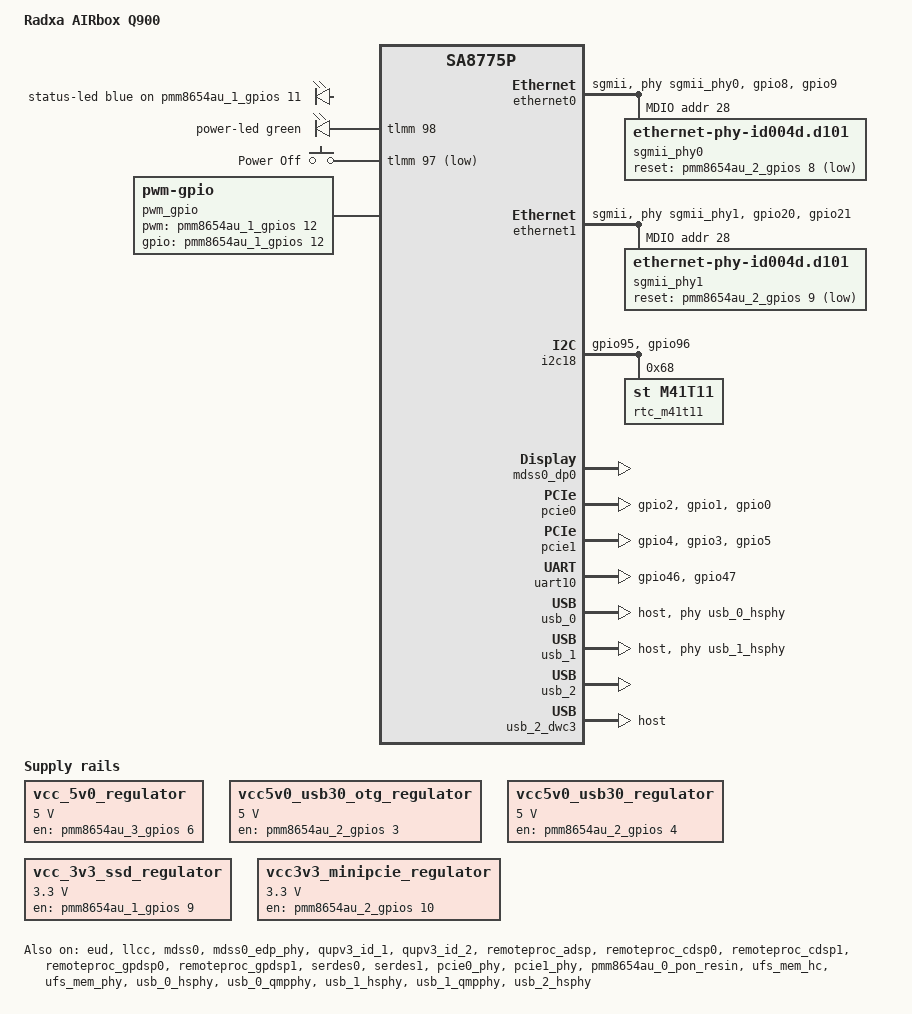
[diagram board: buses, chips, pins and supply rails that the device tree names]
// SPDX-License-Identifier: BSD-3-Clause
/*
 * Copyright (c) 2024, 2025, Qualcomm Innovation Center, Inc. All rights reserved.
 * Copyright (c) 2025 Radxa Computer (Shenzhen) Co., Ltd.
 */
/dts-v1/;

#include <dt-bindings/gpio/gpio.h>
#include <dt-bindings/leds/common.h>
#include <dt-bindings/regulator/qcom,rpmh-regulator.h>
#include  <dt-bindings/pwm/pwm.h>

#include "sa8775p.dtsi"
#include "sa8775p-addons.dtsi"
#include "sa8775p-pmics.dtsi"
#include "qcs9075-thermal.dtsi"
#include "qcs9xxx-reserved-memory.dtsi"

/ {
	model = "Radxa AIRbox Q900";
	compatible = "radxa,airbox-q900", "qcom,qcs9075", "qcom,sa8775p";

	qcom,msm-id = <676 0x20000>;
	qcom,board-id = <0x10020 0>, <0x10019 0>;

	aliases {
		ethernet0 = &ethernet0;
		ethernet1 = &ethernet1;
		serial0 = &uart10;
		i2c18 = &i2c18;
		ufshc1 = &ufs_mem_hc;
	};

	chosen {
		stdout-path = "serial0:115200n8";
	};

	vcc_5v0_regulator: vcc-5v0-regulator {
		compatible = "regulator-fixed";
		regulator-name = "vcc_5v0";
		gpio = <&pmm8654au_3_gpios 6 GPIO_ACTIVE_HIGH>;
		pinctrl-names = "default";
		pinctrl-0 = <&vcc_5v0_en_state>;
		regulator-min-microvolt = <5000000>;
		regulator-max-microvolt = <5000000>;
		regulator-boot-on;
		enable-active-high;
		regulator-always-on;
	};

	vcc5v0_usb30_otg_regulator: vcc5v0-usb30-otg-regulator {
		compatible = "regulator-fixed";
		regulator-name = "vcc5v0_usb30_otg";
		gpio = <&pmm8654au_2_gpios 3 GPIO_ACTIVE_HIGH>;
		pinctrl-names = "default";
		pinctrl-0 = <&vcc3v3_usb30_otg_en_state>;
		regulator-min-microvolt = <5000000>;
		regulator-max-microvolt = <5000000>;
		regulator-boot-on;
		enable-active-high;
		regulator-always-on;
	};

	vcc5v0_usb30_regulator: vcc5v0-usb30-regulator {
		compatible = "regulator-fixed";
		regulator-name = "vcc5v0_usb30";
		gpio = <&pmm8654au_2_gpios 4 GPIO_ACTIVE_HIGH>;
		pinctrl-names = "default";
		pinctrl-0 = <&vcc3v3_usb30_en_state>;
		regulator-min-microvolt = <5000000>;
		regulator-max-microvolt = <5000000>;
		regulator-boot-on;
		enable-active-high;
		regulator-always-on;
	};

	vcc_3v3_ssd_regulator: vcc-3p3-ssd-regulator {
		compatible = "regulator-fixed";
		regulator-name = "vcc_3v3_ssd";
		gpio = <&pmm8654au_1_gpios 9 GPIO_ACTIVE_HIGH>;
		pinctrl-names = "default";
		pinctrl-0 = <&vcc_3v3_ssd_en_state>;
		regulator-min-microvolt = <3300000>;
		regulator-max-microvolt = <3300000>;
		regulator-boot-on;
		enable-active-high;
		regulator-always-on;
	};

	vcc3v3_minipcie_regulator: vcc3v3-minipcie-regulator {
		compatible = "regulator-fixed";
		regulator-name = "vcc3v3_minipcie";
		gpio = <&pmm8654au_2_gpios 10 GPIO_ACTIVE_HIGH>;
		pinctrl-names = "default";
		pinctrl-0 = <&vcc3v3_minipcie_en_state>;
		regulator-min-microvolt = <3300000>;
		regulator-max-microvolt = <3300000>;
		regulator-boot-on;
		enable-active-high;
		regulator-always-on;
	};


	gpio_leds: gpio-leds {
		compatible = "gpio-leds";
		pinctrl-names = "default";
		pinctrl-0 = <&status_led_state>, <&power_led_state>;

		status-led {
			lable = "status:led";
			gpios = <&pmm8654au_1_gpios 11 GPIO_ACTIVE_HIGH>;
			linux,default-trigger = "heartbeat";
			function = LED_FUNCTION_STATUS;
			color = <LED_COLOR_ID_BLUE>;
		};

		power-led {
			lable = "power:led";
			gpios = <&tlmm 98 GPIO_ACTIVE_HIGH>;
			linux,default-trigger = "none";
			function = LED_FUNCTION_POWER;
			color = <LED_COLOR_ID_GREEN>;
		};
	};

	gpio_keys: gpio-keys {
		compatible = "gpio-keys";

		pinctrl-0 = <&gpio_keys_default>;
		pinctrl-names = "default";

		power-key {
			label = "Power Off";
			gpios = <&tlmm 97 GPIO_ACTIVE_LOW>;
			linux,code = <KEY_POWER>;
			wakeup-source;
			debounce-interval = <30>;
		};
	};

	pwm_gpio: pwm-gpio {
		compatible = "pwm-gpio";
		#pwm-cells = <3>;
		pwm-gpio = <&pmm8654au_1_gpios 12 GPIO_ACTIVE_HIGH>;
		gpios = <&pmm8654au_1_gpios 12 GPIO_ACTIVE_HIGH>;
	};
};

&apps_rsc {
	regulators-0 {
		compatible = "qcom,pmm8654au-rpmh-regulators";
		qcom,pmic-id = "a";

		vreg_s4a: smps4 {
			regulator-name = "vreg_s4a";
			regulator-min-microvolt = <1800000>;
			regulator-max-microvolt = <1816000>;
			regulator-initial-mode = <RPMH_REGULATOR_MODE_HPM>;
		};

		vreg_s5a: smps5 {
			regulator-name = "vreg_s5a";
			regulator-min-microvolt = <1850000>;
			regulator-max-microvolt = <1996000>;
			regulator-initial-mode = <RPMH_REGULATOR_MODE_HPM>;
		};

		vreg_s9a: smps9 {
			regulator-name = "vreg_s9a";
			regulator-min-microvolt = <535000>;
			regulator-max-microvolt = <1120000>;
			regulator-initial-mode = <RPMH_REGULATOR_MODE_HPM>;
		};

		vreg_l4a: ldo4 {
			regulator-name = "vreg_l4a";
			regulator-min-microvolt = <788000>;
			regulator-max-microvolt = <1050000>;
			regulator-initial-mode = <RPMH_REGULATOR_MODE_HPM>;
			regulator-allow-set-load;
			regulator-allowed-modes = <RPMH_REGULATOR_MODE_LPM
						   RPMH_REGULATOR_MODE_HPM>;
		};

		vreg_l5a: ldo5 {
			regulator-name = "vreg_l5a";
			regulator-min-microvolt = <870000>;
			regulator-max-microvolt = <950000>;
			regulator-initial-mode = <RPMH_REGULATOR_MODE_HPM>;
			regulator-allow-set-load;
			regulator-allowed-modes = <RPMH_REGULATOR_MODE_LPM
						   RPMH_REGULATOR_MODE_HPM>;
		};

		vreg_l6a: ldo6 {
			regulator-name = "vreg_l6a";
			regulator-min-microvolt = <870000>;
			regulator-max-microvolt = <970000>;
			regulator-initial-mode = <RPMH_REGULATOR_MODE_HPM>;
			regulator-allow-set-load;
			regulator-allowed-modes = <RPMH_REGULATOR_MODE_LPM
						   RPMH_REGULATOR_MODE_HPM>;
		};

		vreg_l7a: ldo7 {
			regulator-name = "vreg_l7a";
			regulator-min-microvolt = <720000>;
			regulator-max-microvolt = <950000>;
			regulator-initial-mode = <RPMH_REGULATOR_MODE_HPM>;
			regulator-allow-set-load;
			regulator-allowed-modes = <RPMH_REGULATOR_MODE_LPM
						   RPMH_REGULATOR_MODE_HPM>;
		};

		vreg_l8a: ldo8 {
			regulator-name = "vreg_l8a";
			regulator-min-microvolt = <2504000>;
			regulator-max-microvolt = <3300000>;
			regulator-initial-mode = <RPMH_REGULATOR_MODE_HPM>;
			regulator-allow-set-load;
			regulator-allowed-modes = <RPMH_REGULATOR_MODE_LPM
						   RPMH_REGULATOR_MODE_HPM>;
		};

		vreg_l9a: ldo9 {
			regulator-name = "vreg_l9a";
			regulator-min-microvolt = <2970000>;
			regulator-max-microvolt = <3544000>;
			regulator-initial-mode = <RPMH_REGULATOR_MODE_HPM>;
			regulator-allow-set-load;
			regulator-allowed-modes = <RPMH_REGULATOR_MODE_LPM
						   RPMH_REGULATOR_MODE_HPM>;
		};
	};

	regulators-1 {
		compatible = "qcom,pmm8654au-rpmh-regulators";
		qcom,pmic-id = "c";

		vreg_l1c: ldo1 {
			regulator-name = "vreg_l1c";
			regulator-min-microvolt = <1140000>;
			regulator-max-microvolt = <1260000>;
			regulator-initial-mode = <RPMH_REGULATOR_MODE_HPM>;
			regulator-allow-set-load;
			regulator-allowed-modes = <RPMH_REGULATOR_MODE_LPM
						   RPMH_REGULATOR_MODE_HPM>;
		};

		vreg_l2c: ldo2 {
			regulator-name = "vreg_l2c";
			regulator-min-microvolt = <900000>;
			regulator-max-microvolt = <1100000>;
			regulator-initial-mode = <RPMH_REGULATOR_MODE_HPM>;
			regulator-allow-set-load;
			regulator-allowed-modes = <RPMH_REGULATOR_MODE_LPM
						   RPMH_REGULATOR_MODE_HPM>;
		};

		vreg_l3c: ldo3 {
			regulator-name = "vreg_l3c";
			regulator-min-microvolt = <1100000>;
			regulator-max-microvolt = <1300000>;
			regulator-initial-mode = <RPMH_REGULATOR_MODE_HPM>;
			regulator-allow-set-load;
			regulator-allowed-modes = <RPMH_REGULATOR_MODE_LPM
						   RPMH_REGULATOR_MODE_HPM>;
		};

		vreg_l4c: ldo4 {
			regulator-name = "vreg_l4c";
			regulator-min-microvolt = <1200000>;
			regulator-max-microvolt = <1200000>;
			regulator-initial-mode = <RPMH_REGULATOR_MODE_HPM>;
			/*
			 * FIXME: This should have regulator-allow-set-load but
			 * we're getting an over-current fault from the PMIC
			 * when switching to LPM.
			 */
		};

		vreg_l5c: ldo5 {
			regulator-name = "vreg_l5c";
			regulator-min-microvolt = <1100000>;
			regulator-max-microvolt = <1300000>;
			regulator-initial-mode = <RPMH_REGULATOR_MODE_HPM>;
			regulator-allow-set-load;
			regulator-allowed-modes = <RPMH_REGULATOR_MODE_LPM
						   RPMH_REGULATOR_MODE_HPM>;
		};

		vreg_l6c: ldo6 {
			regulator-name = "vreg_l6c";
			regulator-min-microvolt = <1620000>;
			regulator-max-microvolt = <1980000>;
			regulator-initial-mode = <RPMH_REGULATOR_MODE_HPM>;
			regulator-allow-set-load;
			regulator-allowed-modes = <RPMH_REGULATOR_MODE_LPM
						   RPMH_REGULATOR_MODE_HPM>;
		};

		vreg_l7c: ldo7 {
			regulator-name = "vreg_l7c";
			regulator-min-microvolt = <1620000>;
			regulator-max-microvolt = <2000000>;
			regulator-initial-mode = <RPMH_REGULATOR_MODE_HPM>;
			regulator-allow-set-load;
			regulator-allowed-modes = <RPMH_REGULATOR_MODE_LPM
						   RPMH_REGULATOR_MODE_HPM>;
		};

		vreg_l8c: ldo8 {
			regulator-name = "vreg_l8c";
			regulator-min-microvolt = <2400000>;
			regulator-max-microvolt = <3300000>;
			regulator-initial-mode = <RPMH_REGULATOR_MODE_HPM>;
			regulator-allow-set-load;
			regulator-allowed-modes = <RPMH_REGULATOR_MODE_LPM
						   RPMH_REGULATOR_MODE_HPM>;
		};

		vreg_l9c: ldo9 {
			regulator-name = "vreg_l9c";
			regulator-min-microvolt = <1650000>;
			regulator-max-microvolt = <2700000>;
			regulator-initial-mode = <RPMH_REGULATOR_MODE_HPM>;
			regulator-allow-set-load;
			regulator-allowed-modes = <RPMH_REGULATOR_MODE_LPM
						   RPMH_REGULATOR_MODE_HPM>;
		};
	};

	regulators-2 {
		compatible = "qcom,pmm8654au-rpmh-regulators";
		qcom,pmic-id = "e";

		vreg_s4e: smps4 {
			regulator-name = "vreg_s4e";
			regulator-min-microvolt = <970000>;
			regulator-max-microvolt = <1520000>;
			regulator-initial-mode = <RPMH_REGULATOR_MODE_HPM>;
		};

		vreg_s7e: smps7 {
			regulator-name = "vreg_s7e";
			regulator-min-microvolt = <1010000>;
			regulator-max-microvolt = <1170000>;
			regulator-initial-mode = <RPMH_REGULATOR_MODE_HPM>;
		};

		vreg_s9e: smps9 {
			regulator-name = "vreg_s9e";
			regulator-min-microvolt = <300000>;
			regulator-max-microvolt = <570000>;
			regulator-initial-mode = <RPMH_REGULATOR_MODE_HPM>;
		};

		vreg_l6e: ldo6 {
			regulator-name = "vreg_l6e";
			regulator-min-microvolt = <1280000>;
			regulator-max-microvolt = <1450000>;
			regulator-initial-mode = <RPMH_REGULATOR_MODE_HPM>;
			regulator-allow-set-load;
			regulator-allowed-modes = <RPMH_REGULATOR_MODE_LPM
						   RPMH_REGULATOR_MODE_HPM>;
		};

		vreg_l8e: ldo8 {
			regulator-name = "vreg_l8e";
			regulator-min-microvolt = <1800000>;
			regulator-max-microvolt = <1950000>;
			regulator-initial-mode = <RPMH_REGULATOR_MODE_HPM>;
			regulator-allow-set-load;
			regulator-allowed-modes = <RPMH_REGULATOR_MODE_LPM
						   RPMH_REGULATOR_MODE_HPM>;
		};
	};
};

&ethernet0 {
	phy-handle = <&sgmii_phy0>;
	phy-mode = "sgmii";

	pinctrl-0 = <&ethernet0_default>;
	pinctrl-names = "default";

	snps,mtl-rx-config = <&mtl_rx_setup>;
	snps,mtl-tx-config = <&mtl_tx_setup>;
	snps,ps-speed = <1000>;

	status = "okay";

	mdio {
		compatible = "snps,dwmac-mdio";
		#address-cells = <1>;
		#size-cells = <0>;

		sgmii_phy0: phy@1c {
			compatible = "ethernet-phy-id004d.d101";
			reg = <0x1c>;
			device_type = "ethernet-phy";
			reset-gpios = <&pmm8654au_2_gpios 8 GPIO_ACTIVE_LOW>;
			reset-assert-us = <11000>;
			reset-deassert-us = <70000>;
		};
	};

	mtl_rx_setup: rx-queues-config {
		snps,rx-queues-to-use = <4>;
		snps,rx-sched-sp;

		queue0 {
			snps,dcb-algorithm;
			snps,map-to-dma-channel = <0x0>;
			snps,route-up;
			snps,priority = <0x1>;
		};

		queue1 {
			snps,dcb-algorithm;
			snps,map-to-dma-channel = <0x1>;
			snps,route-ptp;
		};

		queue2 {
			snps,avb-algorithm;
			snps,map-to-dma-channel = <0x2>;
			snps,route-avcp;
		};

		queue3 {
			snps,avb-algorithm;
			snps,map-to-dma-channel = <0x3>;
			snps,priority = <0xc>;
		};
	};

	mtl_tx_setup: tx-queues-config {
		snps,tx-queues-to-use = <4>;
		snps,tx-sched-sp;

		queue0 {
			snps,dcb-algorithm;
		};

		queue1 {
			snps,dcb-algorithm;
		};

		queue2 {
			snps,avb-algorithm;
			snps,send_slope = <0x1000>;
			snps,idle_slope = <0x1000>;
			snps,high_credit = <0x3e800>;
			snps,low_credit = <0xffc18000>;
		};

		queue3 {
			snps,avb-algorithm;
			snps,send_slope = <0x1000>;
			snps,idle_slope = <0x1000>;
			snps,high_credit = <0x3e800>;
			snps,low_credit = <0xffc18000>;
		};
	};
};

&ethernet1 {
	phy-handle = <&sgmii_phy1>;
	phy-mode = "sgmii";

	pinctrl-0 = <&ethernet1_default>;
	pinctrl-names = "default";

	snps,mtl-rx-config = <&mtl_rx_setup1>;
	snps,mtl-tx-config = <&mtl_tx_setup1>;
	snps,ps-speed = <1000>;

	status = "okay";

	mdio {
		compatible = "snps,dwmac-mdio";
		#address-cells = <1>;
		#size-cells = <0>;

		sgmii_phy1: phy@1c {
			compatible = "ethernet-phy-id004d.d101";
			reg = <0x1c>;
			device_type = "ethernet-phy";
			reset-gpios = <&pmm8654au_2_gpios 9 GPIO_ACTIVE_LOW>;
			reset-assert-us = <11000>;
			reset-deassert-us = <70000>;
		};
	};

	mtl_rx_setup1: rx-queues-config {
		snps,rx-queues-to-use = <4>;
		snps,rx-sched-sp;

		queue0 {
			snps,dcb-algorithm;
			snps,map-to-dma-channel = <0x0>;
			snps,route-up;
			snps,priority = <0x1>;
		};

		queue1 {
			snps,dcb-algorithm;
			snps,map-to-dma-channel = <0x1>;
			snps,route-ptp;
		};

		queue2 {
			snps,avb-algorithm;
			snps,map-to-dma-channel = <0x2>;
			snps,route-avcp;
		};

		queue3 {
			snps,avb-algorithm;
			snps,map-to-dma-channel = <0x3>;
			snps,priority = <0xc>;
		};
	};

	mtl_tx_setup1: tx-queues-config {
		snps,tx-queues-to-use = <4>;
		snps,tx-sched-sp;

		queue0 {
			snps,dcb-algorithm;
		};

		queue1 {
			snps,dcb-algorithm;
		};

		queue2 {
			snps,avb-algorithm;
			snps,send_slope = <0x1000>;
			snps,idle_slope = <0x1000>;
			snps,high_credit = <0x3e800>;
			snps,low_credit = <0xffc18000>;
		};

		queue3 {
			snps,avb-algorithm;
			snps,send_slope = <0x1000>;
			snps,idle_slope = <0x1000>;
			snps,high_credit = <0x3e800>;
			snps,low_credit = <0xffc18000>;
		};
	};
};

&eud {
	status = "okay";
};

&i2c0 {
	qcom,load-firmware;
	qcom,xfer-mode = <1>;
};

&i2c1 {
	qcom,load-firmware;
	qcom,xfer-mode = <1>;
};

&i2c2 {
	qcom,load-firmware;
	qcom,xfer-mode = <1>;
};

&i2c3 {
	qcom,load-firmware;
	qcom,xfer-mode = <1>;
};

&i2c4 {
	qcom,load-firmware;
	qcom,xfer-mode = <1>;
};

&i2c5 {
	qcom,load-firmware;
	qcom,xfer-mode = <1>;
};

&i2c7 {
	qcom,load-firmware;
	qcom,xfer-mode = <1>;
};

&i2c8 {
	qcom,load-firmware;
	qcom,xfer-mode = <1>;
};

&i2c9 {
	qcom,load-firmware;
	qcom,xfer-mode = <1>;
};

&i2c10 {
	qcom,load-firmware;
	qcom,xfer-mode = <1>;
};

&i2c11 {
	qcom,load-firmware;
	qcom,xfer-mode = <1>;
};

&i2c12 {
	qcom,load-firmware;
	qcom,xfer-mode = <1>;
};

&i2c13 {
	qcom,load-firmware;
	qcom,xfer-mode = <1>;
};

&i2c14 {
	qcom,load-firmware;
	qcom,xfer-mode = <1>;
};

&i2c15 {
	qcom,load-firmware;
	qcom,xfer-mode = <1>;
};

&i2c16 {
	qcom,load-firmware;
	qcom,xfer-mode = <1>;
};

&i2c17 {
	qcom,load-firmware;
	qcom,xfer-mode = <1>;
};

&i2c18 {
	qcom,load-firmware;
	qcom,xfer-mode = <1>;
	pinctrl-0 = <&qup_i2c18_default>;
	pinctrl-names = "default";
	status = "okay";

	/* RTC RS4C411ZAE */
	rtc_m41t11: rtc-m41t11@68 {
		compatible = "st,m41t11";
		reg = <0x68>;
	};
};

&i2c19 {
	qcom,load-firmware;
	qcom,xfer-mode = <1>;
};

&llcc {
	status = "okay";
};

&mdss0 {
	status = "okay";
};

&mdss0_dp0 {
	status = "okay";
};

&mdss0_dp0_out {
	data-lanes = <0 1 2 3>;
	link-frequencies = /bits/ 64 <1620000000 2700000000 5400000000 8100000000>;
};

&mdss0_edp_phy {
	status = "okay";
};

&qupv3_id_1 {
	status = "okay";
};

&qupv3_id_2 {
	status = "okay";
};

&remoteproc_adsp {
	firmware-name = "qcom/sa8775p/adsp.mbn";
	status = "okay";
};

&remoteproc_cdsp0 {
	firmware-name = "qcom/sa8775p/cdsp0.mbn";
	status = "okay";
};

&remoteproc_cdsp1 {
	firmware-name = "qcom/sa8775p/cdsp1.mbn";
	status = "okay";
};

&remoteproc_gpdsp0 {
	firmware-name = "qcom/sa8775p/gpdsp0.mbn";
	status = "okay";
};

&remoteproc_gpdsp1 {
	firmware-name = "qcom/sa8775p/gpdsp1.mbn";
	status = "okay";
};

&serdes0 {
	phy-supply = <&vreg_l5a>;
	status = "okay";
};

&serdes1 {
	phy-supply = <&vreg_l5a>;
	status = "okay";
};

&sleep_clk {
	clock-frequency = <32768>;
};

&spi0 {
	qcom,load-firmware;
	qcom,xfer-mode = <1>;
};

&spi1 {
	qcom,load-firmware;
	qcom,xfer-mode = <1>;
};

&spi2 {
	qcom,load-firmware;
	qcom,xfer-mode = <1>;
};

&spi3 {
	qcom,load-firmware;
	qcom,xfer-mode = <1>;
};

&spi4 {
	qcom,load-firmware;
	qcom,xfer-mode = <1>;
};

&spi5 {
	qcom,load-firmware;
	qcom,xfer-mode = <1>;
};

&spi7 {
	qcom,load-firmware;
	qcom,xfer-mode = <1>;
};

&spi8 {
	qcom,load-firmware;
	qcom,xfer-mode = <1>;
};

&spi9 {
	qcom,load-firmware;
	qcom,xfer-mode = <1>;
};

&spi10 {
	qcom,load-firmware;
	qcom,xfer-mode = <1>;
};

&spi11 {
	qcom,load-firmware;
	qcom,xfer-mode = <1>;
};

&spi12 {
	qcom,load-firmware;
	qcom,xfer-mode = <1>;
};

&spi14 {
	qcom,load-firmware;
	qcom,xfer-mode = <1>;
};

&spi15 {
	qcom,load-firmware;
	qcom,xfer-mode = <1>;
};

&spi16 {
	qcom,load-firmware;
	qcom,xfer-mode = <1>;
};

&spi17 {
	qcom,load-firmware;
	qcom,xfer-mode = <1>;
};

&spi18 {
	qcom,load-firmware;
	qcom,xfer-mode = <1>;
};

&spi19 {
	qcom,load-firmware;
	qcom,xfer-mode = <1>;
};

&pcie0 {
	perst-gpios = <&tlmm 2 GPIO_ACTIVE_LOW>;
	wake-gpios = <&tlmm 0 GPIO_ACTIVE_HIGH>;

	pinctrl-names = "default";
	pinctrl-0 = <&pcie0_default_state>;

	status = "okay";
};

&pcie1 {
	perst-gpios = <&tlmm 4 GPIO_ACTIVE_LOW>;
	wake-gpios = <&tlmm 5 GPIO_ACTIVE_HIGH>;

	pinctrl-names = "default";
	pinctrl-0 = <&pcie1_default_state>;

	status = "okay";
};

&pcie0_phy {
	vdda-phy-supply = <&vreg_l5a>;
	vdda-pll-supply = <&vreg_l1c>;

	status = "okay";
};

&pcie1_phy {
	vdda-phy-supply = <&vreg_l5a>;
	vdda-pll-supply = <&vreg_l1c>;

	status = "okay";
};

&pmm8654au_0_pon_resin {
	linux,code = <KEY_VOLUMEDOWN>;
	status = "okay";
};

&pmm8654au_0_rtc {
	status = "disabled";
};

&uart0 {
	qcom,load-firmware;
	qcom,xfer-mode = <1>;
};

&uart1 {
	qcom,load-firmware;
	qcom,xfer-mode = <1>;
};

&uart2 {
	qcom,load-firmware;
	qcom,xfer-mode = <1>;
};

&uart3 {
	qcom,load-firmware;
	qcom,xfer-mode = <1>;
};

&uart4 {
	qcom,load-firmware;
	qcom,xfer-mode = <1>;
};

&uart5 {
	qcom,load-firmware;
	qcom,xfer-mode = <1>;
};

&uart7 {
	qcom,load-firmware;
	qcom,xfer-mode = <1>;
};

&uart8 {
	qcom,load-firmware;
	qcom,xfer-mode = <1>;
};

&uart9 {
	qcom,load-firmware;
	qcom,xfer-mode = <1>;
};

&uart10 {
	compatible = "qcom,geni-debug-uart";
	pinctrl-0 = <&qup_uart10_default>;
	pinctrl-names = "default";
	status = "okay";
};

&uart11 {
	qcom,load-firmware;
	qcom,xfer-mode = <1>;
};

&uart12 {
	qcom,load-firmware;
	qcom,xfer-mode = <1>;
};

&uart14 {
	qcom,load-firmware;
	qcom,xfer-mode = <1>;
};

&uart15 {
	qcom,load-firmware;
	qcom,xfer-mode = <1>;
};

&uart16 {
	qcom,load-firmware;
	qcom,xfer-mode = <1>;
};

&uart17 {
	qcom,load-firmware;
	qcom,xfer-mode = <1>;
};

&uart18 {
	qcom,load-firmware;
	qcom,xfer-mode = <1>;
};

&uart19 {
	qcom,load-firmware;
	qcom,xfer-mode = <1>;
};

&ufs_mem_hc {
	reset-gpios = <&tlmm 149 GPIO_ACTIVE_LOW>;
	vcc-supply = <&vreg_l8a>;
	vcc-max-microamp = <1100000>;
	vccq-supply = <&vreg_l4c>;
	vccq-max-microamp = <1200000>;

	status = "okay";
};

&ufs_mem_phy {
	vdda-phy-supply = <&vreg_l4a>;
	vdda-pll-supply = <&vreg_l1c>;

	status = "okay";
};

/delete-node/ &usb_0_dwc3;

&usb_0 {
	reg = <0x0 0x0a600000 0x0 0x200000>;

	interrupts-extended = <&intc GIC_SPI 292 IRQ_TYPE_LEVEL_HIGH>,
			      <&intc GIC_SPI 287 IRQ_TYPE_LEVEL_HIGH>,
			      <&pdc 14 IRQ_TYPE_EDGE_BOTH>,
			      <&pdc 15 IRQ_TYPE_EDGE_BOTH>,
			      <&pdc 12 IRQ_TYPE_LEVEL_HIGH>;
	interrupt-names = "dwc_usb3",
			  "pwr_event",
			  "dp_hs_phy_irq",
			  "dm_hs_phy_irq",
			  "ss_phy_irq";

	iommus = <&apps_smmu 0x080 0x0>;
	phys = <&usb_0_hsphy>, <&usb_0_qmpphy>;
	phy-names = "usb2-phy", "usb3-phy";

	dr_mode = "host";
	snps,dis_u2_susphy_quirk;
	snps,dis_enblslpm_quirk;
	qcom,enable-rt;
	wakeup-source;
	vbus_dwc3-supply = <&vcc5v0_usb30_otg_regulator>;
	status = "okay";
};

&usb_0_hsphy {
	vdda-pll-supply = <&vreg_l7a>;
	vdda18-supply = <&vreg_l6c>;
	vdda33-supply = <&vreg_l9a>;

	status = "okay";
};

&usb_0_qmpphy {
	vdda-phy-supply = <&vreg_l1c>;
	vdda-pll-supply = <&vreg_l7a>;

	status = "okay";
};

/delete-node/ &usb_1_dwc3;

&usb_1 {
	reg = <0x0 0x0a800000 0x0 0x200000>;
	interrupts-extended = <&intc GIC_SPI 349 IRQ_TYPE_LEVEL_HIGH>,
				<&intc GIC_SPI 352 IRQ_TYPE_LEVEL_HIGH>,
				<&pdc 8 IRQ_TYPE_EDGE_BOTH>,
				<&pdc 7 IRQ_TYPE_EDGE_BOTH>,
				<&pdc 13 IRQ_TYPE_LEVEL_HIGH>;
	interrupt-names = "dwc_usb3",
			"pwr_event",
			"dp_hs_phy_irq",
			"dm_hs_phy_irq",
			"ss_phy_irq";

	iommus = <&apps_smmu 0x0a0 0x0>;
	phys = <&usb_1_hsphy>, <&usb_1_qmpphy>;
	phy-names = "usb2-phy", "usb3-phy";
	snps,dis_u2_susphy_quirk;
	snps,dis_enblslpm_quirk;
	qcom,enable-rt;
	wakeup-source;
	dr_mode = "host";
	vbus_dwc3-supply = <&vcc5v0_usb30_regulator>;
	status = "okay";
};

&usb_1_hsphy {
	vdda-pll-supply = <&vreg_l7a>;
	vdda18-supply = <&vreg_l6c>;
	vdda33-supply = <&vreg_l9a>;

	status = "okay";
};

&usb_1_qmpphy {
	vdda-phy-supply = <&vreg_l1c>;
	vdda-pll-supply = <&vreg_l7a>;

	status = "okay";
};

&usb_2 {
	status = "okay";
};

&usb_2_dwc3 {
	dr_mode = "host";
};

&usb_2_hsphy {
	vdda-pll-supply = <&vreg_l7a>;
	vdda18-supply = <&vreg_l6c>;
	vdda33-supply = <&vreg_l9a>;

	status = "okay";
};

&xo_board_clk {
	clock-frequency = <38400000>;
};

&pmm8654au_1_gpios {

	vcc_3v3_ssd_en_state: vcc-3v3-ssd-en-state {
		pins = "gpio9";
		function = "normal";
		output-high;
		bias-pull-up;
	};

	status_led_state: status-led-state {
		pins = "gpio11";
		function = "normal";
		output-high;
		bias-pull-up;
	};
};

&pmm8654au_2_gpios {

	vcc3v3_usb30_otg_en_state: vcc3v3-usb30-otg-en-state {
		pins = "gpio3";
		function = "normal";
		output-high;
		bias-pull-up;
	};

	vcc3v3_usb30_en_state: vcc3v3-usb30-en-state {
		pins = "gpio4";
		function = "normal";
		output-high;
		bias-pull-up;
	};

	vcc3v3_minipcie_en_state: vcc3v3-minipcie-en-state {
		pins = "gpio10";
		function = "normal";
		output-high;
		bias-pull-up;
	};
};

&pmm8654au_3_gpios {

	vcc_5v0_en_state: vcc-5v0-en-state {
		pins = "gpio6";
		function = "normal";
		output-high;
		bias-pull-up;
	};
};

&tlmm {

	dp_hot_plug_det: dp-hot-plug-det-state {
		pins = "gpio101";
		function = "edp0_hot";
		bias-disable;
	};

	dp1_hot_plug_det: dp1-hot-plug-det-state {
		pins = "gpio102";
		function = "edp1_hot";
		bias-disable;
	};

	ethernet0_default: ethernet0-default-state {
		ethernet0_mdc: ethernet0-mdc-pins {
			pins = "gpio8";
			function = "emac0_mdc";
			drive-strength = <16>;
			bias-pull-up;
		};

		ethernet0_mdio: ethernet0-mdio-pins {
			pins = "gpio9";
			function = "emac0_mdio";
			drive-strength = <16>;
			bias-pull-up;
		};
	};

	ethernet1_default: ethernet1-default-state {
		ethernet1_mdc: ethernet1-mdc-pins {
			pins = "gpio20";
			function = "emac1_mdc";
			drive-strength = <16>;
			bias-pull-up;
		};

		ethernet1_mdio: ethernet1-mdio-pins {
			pins = "gpio21";
			function = "emac1_mdio";
			drive-strength = <16>;
			bias-pull-up;
		};
	};

	qup_uart10_default: qup-uart10-state {
		pins = "gpio46", "gpio47";
		function = "qup1_se3";
	};

	pcie0_default_state: pcie0-default-state {
		perst-pins {
			pins = "gpio2";
			function = "gpio";
			drive-strength = <2>;
			bias-pull-down;
		};

		clkreq-pins {
			pins = "gpio1";
			function = "pcie0_clkreq";
			drive-strength = <2>;
			bias-pull-up;
		};

		wake-pins {
			pins = "gpio0";
			function = "gpio";
			drive-strength = <2>;
			bias-pull-up;
		};
	};

	pcie1_default_state: pcie1-default-state {
		perst-pins {
			pins = "gpio4";
			function = "gpio";
			drive-strength = <2>;
			bias-pull-down;
		};

		clkreq-pins {
			pins = "gpio3";
			function = "pcie1_clkreq";
			drive-strength = <2>;
			bias-pull-up;
		};

		wake-pins {
			pins = "gpio5";
			function = "gpio";
			drive-strength = <2>;
			bias-pull-up;
		};
	};

	qup_i2c18_default: qup-i2c18-state {
		pins = "gpio95", "gpio96";
		function = "qup2_se4";
		drive-strength = <2>;
		bias-pull-up;
	};

	gpio_keys_default: gpio-keys-default-state {
		pins = "gpio97";
		function = "gpio";
		drive-strength = <2>;
		bias-pull-up;
	};

	power_led_state: power-led-state {
		pins = "gpio98";
		function = "normal";
		output-high;
		bias-pull-up;
	};
};
